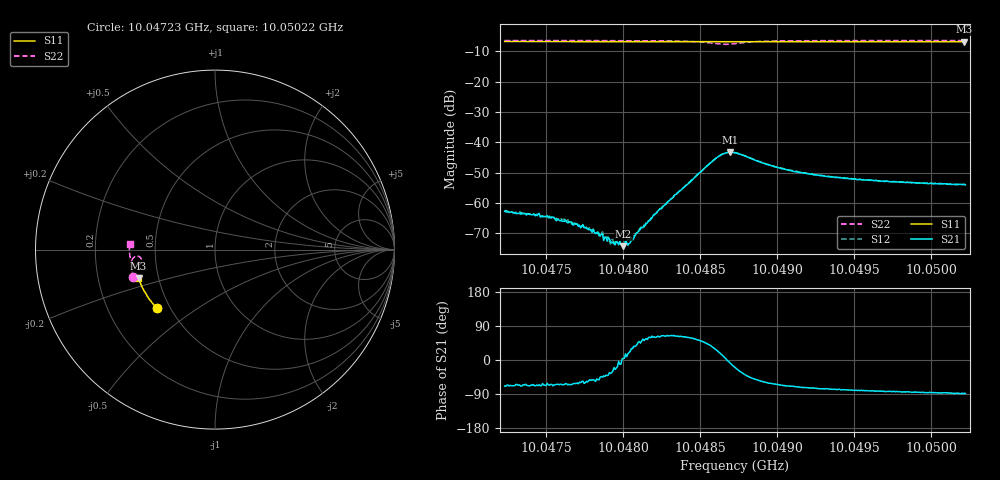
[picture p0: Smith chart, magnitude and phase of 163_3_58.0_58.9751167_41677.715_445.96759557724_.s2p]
#  HZ  S  RI  R  50.00
! Rohde & Schwarz Vector Network Analyzer
! Rohde-Schwarz,ZNB20-2Port,1311601062101988,3.16
! Created: UTC 3/21/2024, 12:57:37 AM
! freq[Hz]  re:S11  im:S11  re:S21  im:S21  re:S12  im:S12  re:S22  im:S22
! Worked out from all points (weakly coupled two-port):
!   401 points, 10.04723 GHz to 10.05022 GHz, reference 50 ohm
!   highest |S21| = -43.23 dB at 10.0487 GHz (marker M1); lowest = -74.2 dB at 10.048 GHz (marker M2)
!   lowest |S11| = -6.8 dB at 10.05022 GHz (marker M3), VSWR 2.67, Z = 19.3 - j7.75 ohm
!   |S11| at or under -10 dB: nowhere
!   |S22| runs from -7.7 to -6.4 dB; largest |S21 - S12| = 0.00047
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1.004723e10  -0.3244 -0.3267  0.000265 -0.00068  0.000373 -0.000652  -0.4546 -0.1508
1.0047537e10  -0.3381 -0.3115  0.000255 -0.000536  0.00026 -0.000496  -0.4604 -0.13
1.0047574e10  -0.3398 -0.3096  0.000238 -0.000485  0.000272 -0.000471  -0.4609 -0.1271
1.0047627e10  -0.342 -0.3069  0.000246 -0.000464  0.000256 -0.00043  -0.4617 -0.1235
1.0047664e10  -0.3435 -0.3053  0.000206 -0.00044  0.000234 -0.00039  -0.4624 -0.1207
1.0047732e10  -0.3465 -0.3016  0.000224 -0.000345  0.000236 -0.000346  -0.4633 -0.1158
1.0047851e10  -0.3515 -0.2953  0.000201 -0.000203  0.000187 -0.000231  -0.4647 -0.1069
1.0047859e10  -0.3518 -0.2949  0.000223 -0.000211  0.000221 -0.000217  -0.4646 -0.1063
1.0047926e10  -0.3544 -0.2916  0.000187 -0.00012  0.000222 -0.000112  -0.4656 -0.101
1.0048001e10  -0.3575 -0.2875  0.000194 1.55e-05  0.000207 4.13e-05  -0.4662 -0.0949
1.0048046e10  -0.3592 -0.2852  0.000203 8.54e-05  0.000212 0.000137  -0.4666 -0.0912
1.0048098e10  -0.3613 -0.2823  0.000233 0.000248  0.000214 0.000258  -0.4667 -0.0865
1.0048233e10  -0.3666 -0.2752  0.000375 0.000672  0.000332 0.000701  -0.4665 -0.0739
1.0048592e10  -0.3794 -0.2551  0.00447 0.00266  0.00433 0.00293  -0.4263 -0.0374
1.0048645e10  -0.381 -0.2522  0.00624 0.00139  0.00618 0.00174  -0.4117 -0.0493
1.0048697e10  -0.3827 -0.2496  0.00681 -0.00108  0.00687 -0.000648  -0.4102 -0.07
1.0048727e10  -0.3837 -0.2482  0.00632 -0.00231  0.00653 -0.00193  -0.4163 -0.0796
1.0048997e10  -0.3931 -0.233  0.00169 -0.00353  0.00191 -0.00345  -0.4648 -0.0671
1.0049229e10  -0.4004 -0.2194  0.000819 -0.00289  0.000996 -0.00283  -0.4729 -0.0443
1.004973e10  -0.4146 -0.1895  0.00029 -0.00224  0.000412 -0.00225  -0.4766 -0.00458
1.0050217e10  -0.4261 -0.1595  6.91e-05 -0.00203  0.000172 -0.00201  -0.4758 0.0297
1.0050224e10  -0.4263 -0.159  5.38e-05 -0.002  0.000183 -0.00201  -0.4757 0.0303
